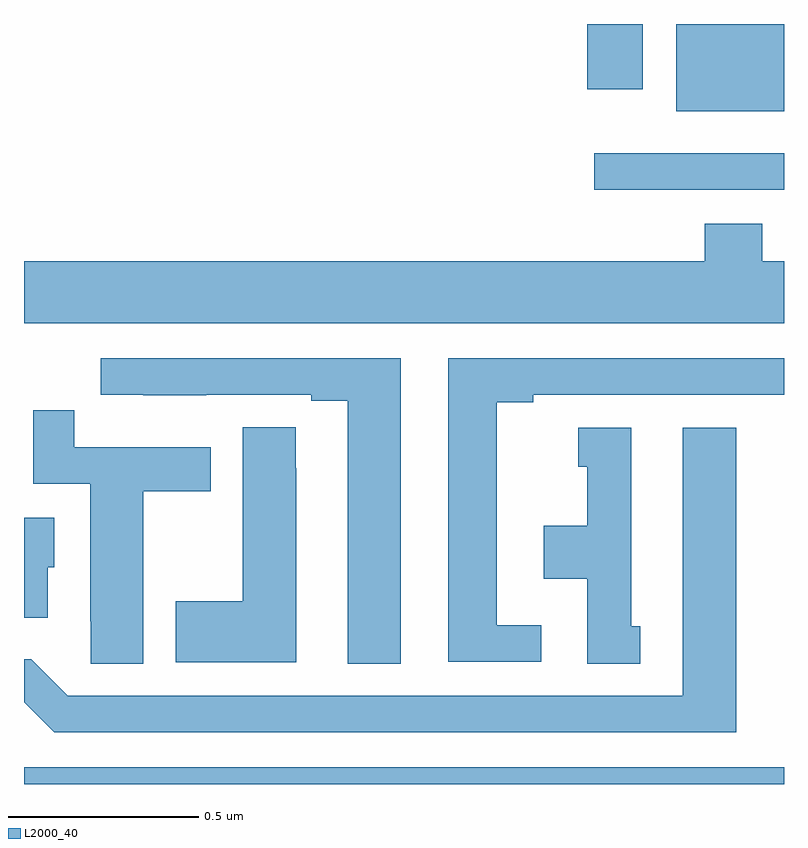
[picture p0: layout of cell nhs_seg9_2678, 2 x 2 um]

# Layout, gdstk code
import gdstk
lib = gdstk.Library(unit=1e-6, precision=1e-09)
def R(c, l, rs):  # rectangles x0, y0, x1, y1
    for r in rs: c.add(gdstk.rectangle(r[:2], r[2:], *l))
def P(c, l, *ps):  # polygons
    for p in ps: c.add(gdstk.Polygon(p, *l))
L2000_40 = (2000, 40)

nhs_seg9_2678 = lib.new_cell('nhs_seg9_2678')
R(nhs_seg9_2678, L2000_40, [(143,1236.5,145,1236.544), (144.501,1238.064,145,1238.16), (144.716,1238.27,145,1238.5), (144.482,1238.328,144.628,1238.5)])
P(nhs_seg9_2678, L2000_40, [(145,1237.876),(144.943,1237.876),(144.943,1237.975),(144.791,1237.975),(144.791,1237.876),(143,1237.876),(143,1237.712),(145,1237.712)],
  [(143.992,1237.62),(143.202,1237.62),(143.202,1237.524),(143.314,1237.524),(143.314,1237.523),(143.48,1237.523),(143.48,1237.524),(143.756,1237.524),(143.756,1237.509),(143.852,1237.509),(143.852,1236.817),(143.992,1236.817)],
  [(144.361,1236.918),(144.244,1236.918),(144.244,1237.504),(144.34,1237.504),(144.34,1237.524),(145,1237.524),(145,1237.62),(144.116,1237.62),(144.116,1236.822),(144.361,1236.822)],
  [(143.314,1237.27),(143.491,1237.27),(143.491,1237.386),(143.132,1237.386),(143.132,1237.483),(143.024,1237.483),(143.024,1237.29),(143.174,1237.29),(143.174,1236.928),(143.175,1236.928),(143.175,1236.817),(143.314,1236.817)],
  [(143.716,1237.331),(143.715,1237.331),(143.715,1237.439),(143.576,1237.439),(143.576,1236.981),(143.399,1236.981),(143.399,1236.821),(143.716,1236.821)],
  [(144.874,1237.438),(144.734,1237.438),(144.734,1236.732),(143.115,1236.732),(143.019,1236.828),(143,1236.828),(143,1236.715),(143.079,1236.636),(144.874,1236.636)],
  [(144.622,1236.915),(144.598,1236.915),(144.598,1237.438),(144.458,1237.438),(144.458,1237.335),(144.482,1237.335),(144.482,1237.18),(144.368,1237.18),(144.368,1237.04),(144.482,1237.04),(144.482,1236.817),(144.622,1236.817)],
  [(143.062,1237.071),(143.08,1237.071),(143.08,1237.201),(143,1237.201),(143,1236.938),(143.062,1236.938)])

lib.write_gds('nhs_seg9_2678.gds')
